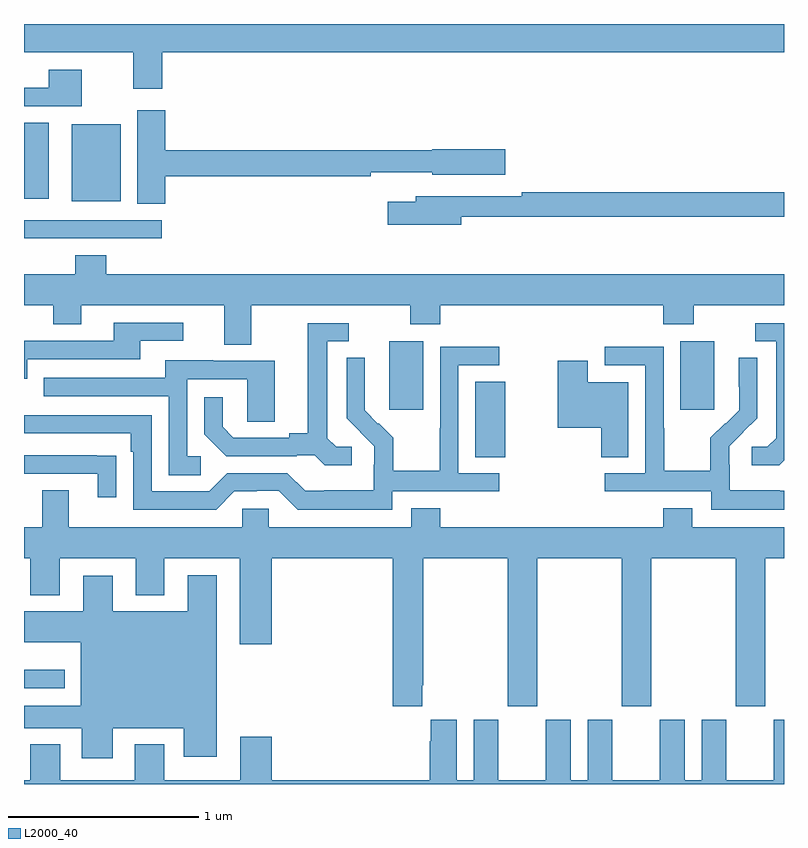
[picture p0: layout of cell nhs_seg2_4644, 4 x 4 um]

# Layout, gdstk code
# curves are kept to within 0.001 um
import gdstk
lib = gdstk.Library(unit=1e-6, precision=1e-09)
def R(c, l, rs):  # rectangles x0, y0, x1, y1
    for r in rs: c.add(gdstk.rectangle(r[:2], r[2:], *l))
def P(c, l, *ps):  # polygons
    for p in ps: c.add(gdstk.Polygon(p, *l))
L2000_40 = (2000, 40)

nhs_seg2_4644 = lib.new_cell('nhs_seg2_4644')
R(nhs_seg2_4644, L2000_40, [(363,628.305,363.214,628.402), (365.375,629.521,365.533,629.918), (364.922,629.769,365.101,630.13), (366.455,629.769,366.634,630.13), (363,630.672,363.724,630.768), (363.251,630.866,363.508,631.273), (363,630.881,363.13,631.279)])
P(nhs_seg2_4644, L2000_40, [(363.728,631.652),(367,631.652),(367,631.8),(363,631.8),(363,631.652),(363.575,631.652),(363.575,631.458),(363.728,631.458)],
  [(363.304,631.558),(363.131,631.558),(363.131,631.464),(363,631.464),(363,631.368),(363.304,631.368)],
  [(363.743,631),(364.826,631),(364.826,631.02),(365.148,631.02),(365.148,631.007),(365.533,631.007),(365.533,631.142),(365.148,631.142),(365.148,631.136),(363.743,631.136),(363.743,631.345),(363.596,631.345),(363.596,630.853),(363.743,630.853)],
  [(365.302,630.786),(367,630.786),(367,630.914),(365.62,630.914),(365.62,630.894),(365.063,630.894),(365.063,630.865),(364.914,630.865),(364.914,630.743),(365.302,630.743)],
  [(364.195,630.32),(365.032,630.32),(365.032,630.221),(365.192,630.221),(365.192,630.32),(366.365,630.32),(366.365,630.221),(366.525,630.221),(366.525,630.32),(367,630.32),(367,630.484),(363.434,630.484),(363.434,630.583),(363.269,630.583),(363.269,630.484),(363,630.484),(363,630.32),(363.154,630.32),(363.154,630.221),(363.301,630.221),(363.301,630.32),(364.055,630.32),(364.055,630.112),(364.195,630.112)],
  [(363.018,630.036),(363.613,630.036),(363.613,630.132),(363.838,630.132),(363.838,630.228),(363.473,630.228),(363.473,630.132),(363,630.132),(363,629.933),(363.018,629.933)],
  [(367,629.503),(367,630.225),(366.849,630.225),(366.849,630.129),(366.959,630.129),(366.959,629.621),(366.912,629.574),(366.831,629.574),(366.831,629.477),(366.974,629.477)],
  [(364.726,629.574),(364.644,629.574),(364.597,629.621),(364.597,630.129),(364.708,630.129),(364.708,630.225),(364.493,630.225),(364.493,629.645),(364.397,629.645),(364.397,629.622),(364.102,629.622),(364.045,629.679),(364.045,629.836),(363.948,629.836),(363.948,629.642),(364.064,629.526),(364.436,629.526),(364.436,629.529),(364.53,629.529),(364.582,629.477),(364.726,629.477)],
  [(367,629.343),(366.977,629.343),(366.977,629.347),(366.714,629.347),(366.714,629.481),(366.712,629.481),(366.712,629.578),(366.858,629.726),(366.858,630.044),(366.762,630.044),(366.762,629.89),(366.764,629.89),(366.764,629.768),(366.693,629.697),(366.69,629.7),(366.613,629.623),(366.613,629.449),(366.369,629.449),(366.369,629.672),(366.366,629.672),(366.366,630.102),(366.057,630.102),(366.057,630.003),(366.27,630.003),(366.27,629.436),(366.057,629.436),(366.057,629.34),(366.618,629.34),(366.618,629.243),(367,629.243)],
  [(364.938,629.34),(365.5,629.34),(365.5,629.436),(365.286,629.436),(365.286,630.003),(365.5,630.003),(365.5,630.102),(365.19,630.102),(365.19,629.672),(365.188,629.672),(365.188,629.449),(364.943,629.449),(364.943,629.623),(364.866,629.7),(364.863,629.697),(364.793,629.768),(364.794,630.044),(364.698,630.044),(364.698,629.726),(364.844,629.578),(364.844,629.481),(364.842,629.481),(364.842,629.347),(364.579,629.347),(364.579,629.343),(364.479,629.343),(364.386,629.436),(364.071,629.436),(363.975,629.34),(363.672,629.34),(363.672,629.742),(363,629.742),(363,629.646),(363.563,629.646),(363.563,629.549),(363.576,629.549),(363.576,629.244),(364.011,629.244),(364.107,629.34),(364.226,629.34),(364.226,629.343),(364.341,629.343),(364.441,629.243),(364.938,629.243)],
  [(363.931,629.526),(363.858,629.526),(363.858,629.931),(364.176,629.931),(364.176,629.707),(364.321,629.707),(364.321,630.027),(363.997,630.027),(363.997,630.031),(363.743,630.031),(363.743,629.937),(363.103,629.937),(363.103,629.841),(363.762,629.841),(363.762,629.425),(363.931,629.425)],
  [(366.181,629.914),(365.968,629.914),(365.968,630.028),(365.81,630.028),(365.81,629.675),(366.038,629.675),(366.038,629.521),(366.181,629.521)],
  [(363.485,629.528),(363.383,629.528),(363.383,629.529),(363,629.529),(363,629.433),(363.389,629.433),(363.389,629.31),(363.485,629.31)],
  [(365.095,628.321),(365.1,628.321),(365.1,628.988),(365.545,628.988),(365.545,628.209),(365.7,628.209),(365.7,628.988),(366.145,628.988),(366.145,628.209),(366.3,628.209),(366.3,628.988),(366.745,628.988),(366.745,628.209),(366.9,628.209),(366.9,628.988),(367,628.988),(367,629.152),(366.517,629.152),(366.517,629.251),(366.365,629.251),(366.365,629.152),(365.192,629.152),(365.192,629.251),(365.039,629.251),(365.039,629.152),(364.287,629.152),(364.287,629.25),(364.149,629.25),(364.149,629.152),(363.235,629.152),(363.235,629.347),(363.095,629.347),(363.095,629.152),(363,629.152),(363,628.988),(363.032,628.988),(363.032,628.794),(363.187,628.794),(363.187,628.988),(363.587,628.988),(363.587,628.794),(363.739,628.794),(363.739,628.988),(364.136,628.988),(364.136,628.536),(364.304,628.536),(364.304,628.988),(364.94,628.988),(364.94,628.209),(365.095,628.209)],
  [(363.466,628.094),(363.842,628.094),(363.842,627.944),(364.015,627.944),(364.015,628.9),(363.863,628.9),(363.863,628.708),(363.466,628.708),(363.466,628.897),(363.311,628.897),(363.311,628.708),(363,628.708),(363,628.547),(363.299,628.547),(363.299,628.213),(363,628.213),(363,628.094),(363.305,628.094),(363.305,627.936),(363.466,627.936)],
  [(367,628.138),(366.947,628.138),(366.947,627.82),(366.697,627.82),(366.697,628.138),(366.566,628.138),(366.566,627.82),(366.478,627.82),(366.478,628.138),(366.347,628.138),(366.347,627.82),(366.097,627.82),(366.097,628.138),(365.966,628.138),(365.966,627.82),(365.878,627.82),(365.878,628.138),(365.747,628.138),(365.747,627.82),(365.497,627.82),(365.497,628.138),(365.366,628.138),(365.366,627.82),(365.278,627.82),(365.278,628.138),(365.141,628.138),(365.141,628.025),(365.135,628.025),(365.135,627.82),(364.304,627.82),(364.304,628.048),(364.139,628.048),(364.139,627.82),(363.739,627.82),(363.739,628.009),(363.584,628.009),(363.584,627.82),(363.19,627.82),(363.19,628.009),(363.032,628.009),(363.032,627.82),(363,627.82),(363,627.8),(367,627.8)])

lib.write_gds('nhs_seg2_4644.gds')
